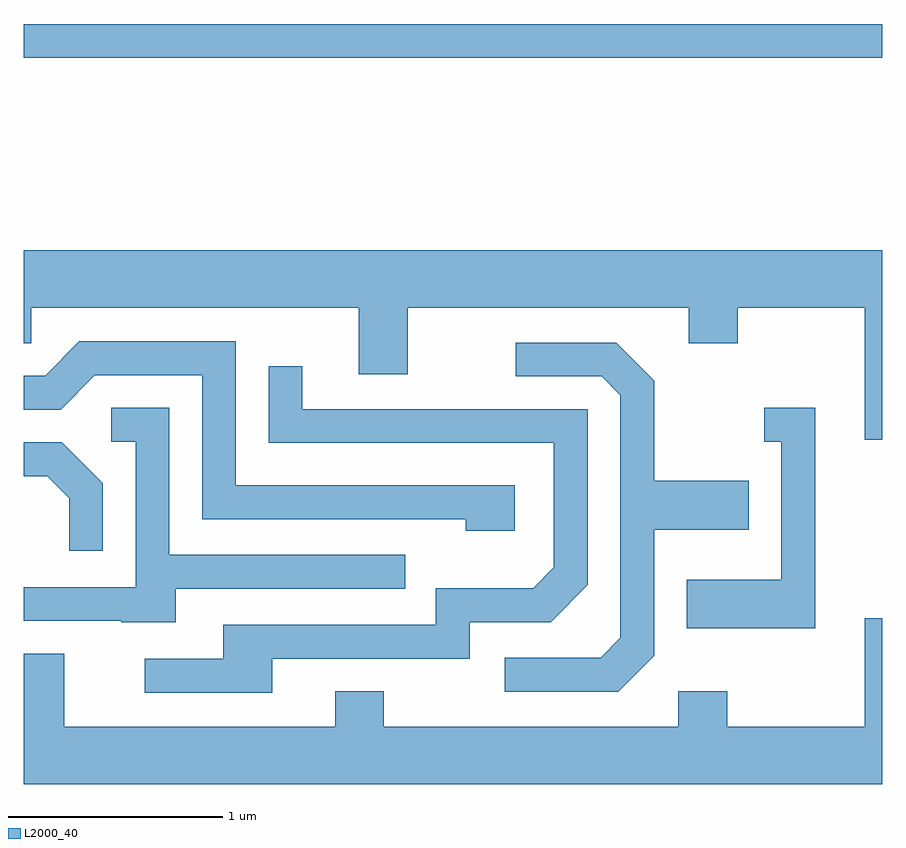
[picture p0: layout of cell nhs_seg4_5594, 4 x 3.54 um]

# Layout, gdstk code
import gdstk
lib = gdstk.Library(unit=1e-6, precision=1e-09)
def R(c, l, rs):  # rectangles x0, y0, x1, y1
    for r in rs: c.add(gdstk.rectangle(r[:2], r[2:], *l))
def P(c, l, *ps):  # polygons
    for p in ps: c.add(gdstk.Polygon(p, *l))
L2000_40 = (2000, 40)

nhs_seg4_5594 = lib.new_cell('nhs_seg4_5594')
R(nhs_seg4_5594, L2000_40, [(349.611,1293.681,353.611,1293.839)])
P(nhs_seg4_5594, L2000_40, [(353.611,1292.784),(349.611,1292.784),(349.611,1292.351),(349.644,1292.351),(349.644,1292.516),(351.171,1292.516),(351.171,1292.206),(351.399,1292.206),(351.399,1292.516),(352.711,1292.516),(352.711,1292.351),(352.939,1292.351),(352.939,1292.516),(353.531,1292.516),(353.531,1291.901),(353.611,1291.901)],
  [(351.899,1291.689),(350.599,1291.689),(350.599,1292.359),(349.869,1292.359),(349.709,1292.199),(349.611,1292.199),(349.611,1292.041),(349.782,1292.041),(349.942,1292.201),(350.441,1292.201),(350.441,1291.531),(351.671,1291.531),(351.671,1291.476),(351.899,1291.476)],
  [(352.549,1290.894),(352.549,1291.481),(352.989,1291.481),(352.989,1291.709),(352.549,1291.709),(352.549,1292.177),(352.372,1292.354),(351.903,1292.354),(351.903,1292.196),(352.304,1292.196),(352.391,1292.109),(352.391,1290.977),(352.299,1290.884),(351.853,1290.884),(351.853,1290.726),(352.382,1290.726)],
  [(350.769,1290.881),(351.689,1290.881),(351.689,1291.051),(352.067,1291.051),(352.239,1291.224),(352.239,1292.044),(350.909,1292.044),(350.909,1292.243),(350.751,1292.243),(350.751,1291.886),(352.081,1291.886),(352.081,1291.307),(351.984,1291.209),(351.531,1291.209),(351.531,1291.039),(350.541,1291.039),(350.541,1290.879),(350.173,1290.879),(350.173,1290.721),(350.769,1290.721)],
  [(350.319,1291.206),(351.388,1291.206),(351.388,1291.364),(350.289,1291.364),(350.289,1292.049),(350.018,1292.049),(350.018,1291.891),(350.131,1291.891),(350.131,1291.214),(349.611,1291.214),(349.611,1291.056),(350.065,1291.056),(350.065,1291.051),(350.319,1291.051)],
  [(353.299,1292.049),(353.063,1292.049),(353.063,1291.891),(353.141,1291.891),(353.141,1291.249),(352.701,1291.249),(352.701,1291.021),(353.299,1291.021)],
  [(349.979,1291.697),(349.787,1291.889),(349.611,1291.889),(349.611,1291.731),(349.719,1291.731),(349.821,1291.629),(349.821,1291.383),(349.979,1291.383)],
  [(353.611,1291.069),(353.531,1291.069),(353.531,1290.564),(352.889,1290.564),(352.889,1290.729),(352.661,1290.729),(352.661,1290.564),(351.289,1290.564),(351.289,1290.729),(351.061,1290.729),(351.061,1290.564),(349.799,1290.564),(349.799,1290.904),(349.611,1290.904),(349.611,1290.296),(353.611,1290.296)])

lib.write_gds('nhs_seg4_5594.gds')
